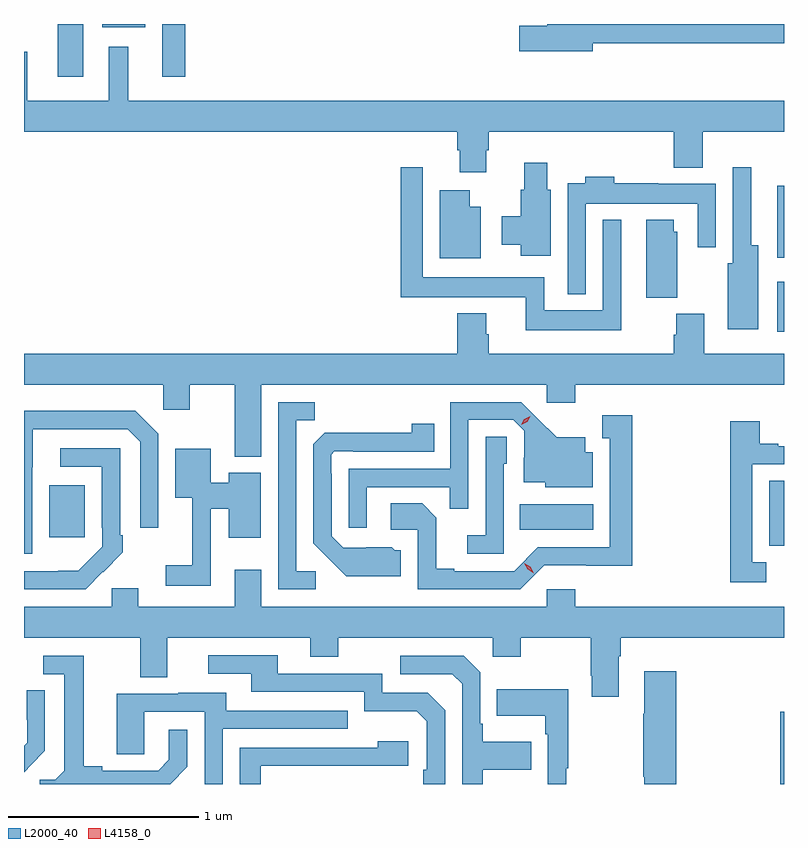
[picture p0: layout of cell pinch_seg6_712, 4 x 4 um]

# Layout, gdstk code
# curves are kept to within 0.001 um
import gdstk
lib = gdstk.Library(unit=1e-6, precision=1e-09)
def R(c, l, rs):  # rectangles x0, y0, x1, y1
    for r in rs: c.add(gdstk.rectangle(r[:2], r[2:], *l))
def P(c, l, *ps):  # polygons
    for p in ps: c.add(gdstk.Polygon(p, *l))
L2000_40 = (2000, 40)
L4158_0 = (4158, 0)

pinch_seg6_712 = lib.new_cell('pinch_seg6_712')
R(pinch_seg6_712, L2000_40, [(630.467,935.911,630.488,936.292), (630.41,937.165,630.488,937.508), (626.621,937.209,626.809,937.483), (629.098,937.25,629.485,937.384), (630.452,938.291,630.488,938.554), (630.452,938.681,630.488,939.061), (626.666,939.633,626.8,939.911), (627.215,939.633,627.337,939.911), (626.9,939.893,627.127,939.911)])
P(pinch_seg6_712, L2000_40, [(629.482,939.81),(630.488,939.81),(630.488,939.911),(629.243,939.911),(629.243,939.902),(629.094,939.902),(629.094,939.767),(629.482,939.767)],
  [(628.921,939.246),(628.934,939.246),(628.934,939.344),(629.909,939.344),(629.909,939.155),(630.061,939.155),(630.061,939.344),(630.488,939.344),(630.488,939.508),(627.037,939.508),(627.037,939.79),(626.933,939.79),(626.933,939.508),(626.506,939.508),(626.506,939.766),(626.488,939.766),(626.488,939.344),(628.769,939.344),(628.769,939.246),(628.781,939.246),(628.781,939.132),(628.921,939.132)],
  [(629.26,939.039),(629.242,939.039),(629.242,939.181),(629.12,939.181),(629.12,939.039),(629.102,939.039),(629.102,938.898),(629.003,938.898),(629.003,938.75),(629.102,938.75),(629.102,938.691),(629.26,938.691)],
  [(629.632,938.881),(629.535,938.881),(629.535,938.404),(629.226,938.404),(629.226,938.578),(628.587,938.578),(628.587,939.157),(628.471,939.157),(628.471,938.472),(628.594,938.472),(628.594,938.474),(629.129,938.474),(629.129,938.3),(629.632,938.3)],
  [(630.352,938.746),(630.316,938.746),(630.316,939.157),(630.219,939.157),(630.219,938.652),(630.191,938.652),(630.191,938.304),(630.352,938.304)],
  [(629.445,938.966),(630.033,938.966),(630.033,938.736),(630.129,938.736),(630.129,939.07),(629.825,939.07),(629.825,939.073),(629.594,939.073),(629.594,939.106),(629.441,939.106),(629.441,939.073),(629.349,939.073),(629.349,938.489),(629.445,938.489)],
  [(628.891,938.95),(628.834,938.95),(628.834,939.037),(628.676,939.037),(628.676,938.678),(628.891,938.678)],
  [(629.926,938.817),(629.908,938.817),(629.908,938.881),(629.762,938.881),(629.762,938.47),(629.926,938.47)],
  [(630.488,938.176),(630.069,938.176),(630.069,938.385),(629.921,938.385),(629.921,938.276),(629.909,938.276),(629.909,938.176),(628.934,938.176),(628.934,938.277),(628.921,938.277),(628.921,938.389),(628.769,938.389),(628.769,938.176),(626.488,938.176),(626.488,938.012),(627.222,938.012),(627.222,937.881),(627.361,937.881),(627.361,938.012),(627.596,938.012),(627.596,937.634),(627.736,937.634),(627.736,938.012),(629.238,938.012),(629.238,937.917),(629.39,937.917),(629.39,938.012),(630.488,938.012)],
  [(628.024,937.032),(627.921,937.032),(627.921,937.825),(628.017,937.825),(628.017,937.92),(627.825,937.92),(627.825,936.936),(628.024,936.936)],
  [(628.293,937.473),(628.729,937.473),(628.729,937.36),(628.827,937.36),(628.827,937.827),(629.064,937.827),(629.121,937.77),(629.121,937.628),(629.117,937.628),(629.117,937.499),(629.232,937.499),(629.232,937.472),(629.482,937.472),(629.482,937.657),(629.443,937.657),(629.443,937.735),(629.291,937.735),(629.104,937.92),(628.731,937.92),(628.731,937.569),(628.197,937.569),(628.197,937.26),(628.293,937.26)],
  [(626.532,937.579),(626.533,937.579),(626.533,937.779),(627.033,937.779),(627.099,937.713),(627.099,937.26),(627.195,937.26),(627.195,937.755),(627.074,937.876),(626.488,937.876),(626.488,937.122),(626.532,937.122)],
  [(629.226,937.062),(629.689,937.061),(629.689,937.852),(629.531,937.852),(629.531,937.731),(629.57,937.731),(629.57,937.158),(629.193,937.158),(629.067,937.032),(628.753,937.032),(628.753,937.045),(628.659,937.045),(628.659,937.312),(628.583,937.388),(628.419,937.388),(628.419,937.248),(628.56,937.248),(628.56,936.936),(629.1,936.936)],
  [(630.394,937.077),(630.321,937.077),(630.321,937.593),(630.488,937.593),(630.488,937.689),(630.457,937.689),(630.457,937.702),(630.361,937.702),(630.361,937.819),(630.205,937.819),(630.205,936.972),(630.394,936.972)],
  [(628.471,937.14),(628.44,937.14),(628.424,937.156),(628.167,937.155),(628.107,937.215),(628.107,937.544),(628.104,937.544),(628.104,937.644),(628.122,937.662),(628.222,937.662),(628.222,937.659),(628.646,937.659),(628.646,937.807),(628.528,937.807),(628.528,937.76),(628.07,937.759),(628.011,937.7),(628.011,937.178),(628.183,937.004),(628.471,937.004)],
  [(629.013,937.596),(629.028,937.596),(629.028,937.739),(628.917,937.739),(628.917,937.219),(628.821,937.219),(628.821,937.122),(629.013,937.122)],
  [(626.903,937.027),(626.904,937.026),(627.009,937.131),(627.009,937.219),(626.994,937.219),(626.994,937.677),(626.679,937.677),(626.679,937.581),(626.898,937.581),(626.898,937.261),(626.901,937.261),(626.901,937.161),(626.773,937.033),(626.488,937.032),(626.488,936.936),(626.812,936.936)],
  [(627.471,937.36),(627.566,937.36),(627.566,937.206),(627.733,937.206),(627.733,937.549),(627.566,937.549),(627.566,937.496),(627.471,937.496),(627.471,937.675),(627.284,937.675),(627.284,937.418),(627.374,937.418),(627.374,937.063),(627.234,937.063),(627.234,936.954),(627.471,936.954)],
  [(629.617,936.584),(629.63,936.584),(629.63,936.68),(630.488,936.68),(630.488,936.844),(629.39,936.844),(629.39,936.937),(629.238,936.937),(629.238,936.844),(627.736,936.844),(627.736,937.039),(627.596,937.039),(627.596,936.844),(627.088,936.844),(627.088,936.942),(626.949,936.942),(626.949,936.844),(626.488,936.844),(626.488,936.68),(627.101,936.68),(627.101,936.472),(627.241,936.472),(627.241,936.68),(627.995,936.68),(627.995,936.581),(628.143,936.581),(628.143,936.68),(628.956,936.68),(628.956,936.581),(629.103,936.581),(629.103,936.68),(629.47,936.68),(629.47,936.481),(629.477,936.481),(629.477,936.369),(629.617,936.369)],
  [(628.704,936.3),(628.614,936.39),(628.374,936.39),(628.374,936.492),(627.823,936.492),(627.823,936.588),(627.459,936.588),(627.459,936.492),(627.683,936.492),(627.683,936.396),(628.278,936.396),(628.278,936.293),(628.555,936.293),(628.608,936.24),(628.608,935.986),(628.588,935.986),(628.588,935.911),(628.704,935.911)],
  [(628.903,935.986),(629.159,935.986),(629.159,936.133),(628.903,936.133),(628.903,936.229),(628.89,936.229),(628.89,936.498),(628.803,936.585),(628.467,936.585),(628.467,936.489),(628.743,936.489),(628.794,936.438),(628.794,935.911),(628.903,935.911)],
  [(627.348,936.002),(627.348,936.196),(627.251,936.196),(627.251,936.039),(627.194,935.982),(626.899,935.982),(626.899,936.005),(626.803,936.005),(626.803,936.585),(626.589,936.585),(626.589,936.489),(626.699,936.489),(626.699,935.981),(626.652,935.934),(626.571,935.934),(626.571,935.911),(627.257,935.911)],
  [(629.921,936.505),(629.753,936.505),(629.753,936.281),(629.746,936.281),(629.746,935.95),(629.753,935.95),(629.753,935.911),(629.921,935.911)],
  [(629.341,935.993),(629.353,935.993),(629.353,936.409),(628.975,936.409),(628.975,936.269),(629.232,936.269),(629.232,936.173),(629.244,936.173),(629.244,935.911),(629.341,935.911)],
  [(626.526,936.012),(626.525,936.013),(626.598,936.086),(626.598,936.404),(626.502,936.404),(626.502,936.25),(626.504,936.25),(626.504,936.128),(626.488,936.112),(626.488,935.974)],
  [(627.534,936.201),(628.193,936.201),(628.193,936.297),(627.553,936.297),(627.553,936.391),(627.299,936.391),(627.299,936.387),(626.975,936.387),(626.975,936.067),(627.12,936.067),(627.12,936.291),(627.438,936.291),(627.438,935.911),(627.534,935.911)],
  [(627.733,936.006),(628.51,936.006),(628.51,936.136),(628.349,936.136),(628.349,936.102),(627.624,936.102),(627.624,935.911),(627.733,935.911)])
P(pinch_seg6_712, L4158_0, [(629.104,937.802),(629.104,937.803),(629.122,937.832),(629.153,937.847),(629.153,937.847),(629.153,937.847),(629.136,937.818),(629.105,937.802)],
  [(629.17,937.021),(629.139,937.04),(629.122,937.073),(629.122,937.073),(629.122,937.073),(629.153,937.054),(629.17,937.021),(629.17,937.021)])

lib.write_gds('pinch_seg6_712.gds')
